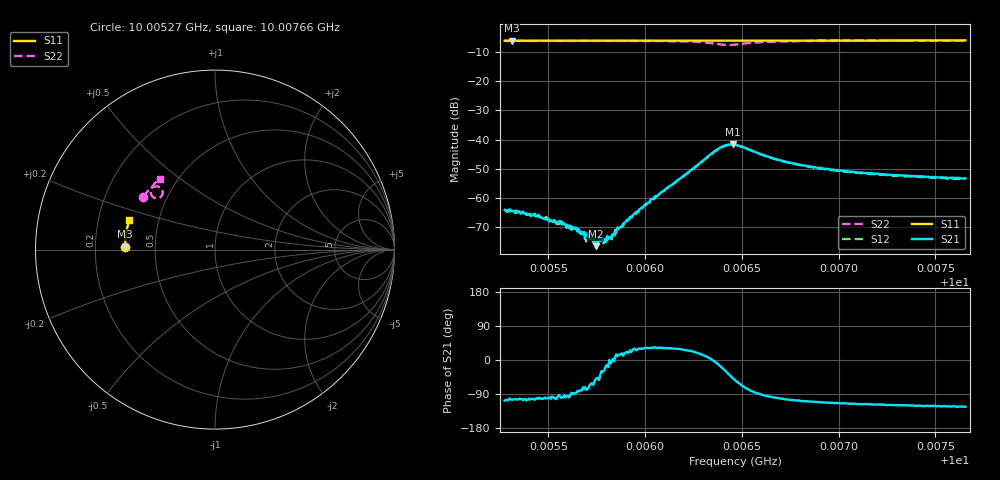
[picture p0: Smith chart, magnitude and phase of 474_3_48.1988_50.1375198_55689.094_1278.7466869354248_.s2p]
#  HZ  S  RI  R  50.00
! Rohde & Schwarz Vector Network Analyzer
! Rohde-Schwarz,ZNB20-2Port,1311601062101988,3.16
! Created: UTC 3/20/2024, 11:57:17 AM
! freq[Hz]  re:S11  im:S11  re:S21  im:S21  re:S12  im:S12  re:S22  im:S22
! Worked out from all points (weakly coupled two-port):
!   401 points, 10.00527 GHz to 10.00766 GHz, reference 50 ohm
!   highest |S21| = -41.69 dB at 10.00645 GHz (marker M1); lowest = -76.7 dB at 10.00574 GHz (marker M2)
!   lowest |S11| = -6.0 dB at 10.00531 GHz (marker M3), VSWR 3.01, Z = 16.6 + j0.755 ohm
!   |S11| at or under -10 dB: nowhere
!   |S22| runs from -7.5 to -6.0 dB; largest |S21 - S12| = 0.00056
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1.0005274e10  -0.5006 0.0148  -0.000182 -0.000588  -0.000112 -0.000596  -0.3995 0.2932
1.000531e10  -0.5005 0.017  -0.000152 -0.000566  -0.000125 -0.000566  -0.398 0.2954
1.000556e10  -0.5003 0.0334  -4.39e-05 -0.000398  -3.1e-05 -0.000364  -0.3874 0.3103
1.0005643e10  -0.5 0.0388  1.27e-05 -0.000304  2.97e-06 -0.000277  -0.3835 0.3153
1.0005673e10  -0.5 0.0407  4.06e-05 -0.000253  4.8e-05 -0.00024  -0.3819 0.317
1.0005685e10  -0.4998 0.0415  5.95e-05 -0.000251  4.12e-05 -0.000209  -0.3813 0.3179
1.0005714e10  -0.4998 0.0433  8.09e-05 -0.000175  7.54e-05 -0.000178  -0.3799 0.3197
1.0005744e10  -0.4997 0.0454  9.18e-05 -0.000114  0.000123 -0.000127  -0.3784 0.3215
1.0005762e10  -0.4997 0.0466  0.000128 -0.000167  0.000121 -0.000103  -0.3774 0.3226
1.0005816e10  -0.4995 0.05  0.000213 1.59e-06  0.000204 -4.04e-05  -0.3744 0.3261
1.0005834e10  -0.4994 0.0512  0.000237 1.32e-05  0.000253 1.86e-05  -0.3732 0.3274
1.0005857e10  -0.4991 0.0527  0.000301 5.46e-05  0.000283 6.58e-05  -0.3719 0.3288
1.0005947e10  -0.4987 0.0586  0.000463 0.000265  0.000436 0.000253  -0.3659 0.3347
1.0006072e10  -0.4979 0.0666  0.000955 0.000619  0.000934 0.00065  -0.3554 0.3433
1.0006369e10  -0.495 0.0858  0.00655 -0.000923  0.00648 -0.000533  -0.2936 0.3306
1.0006411e10  -0.4945 0.0881  0.00706 -0.00351  0.00702 -0.00312  -0.2932 0.3067
1.0006453e10  -0.4943 0.0906  0.00554 -0.00609  0.0058 -0.00565  -0.311 0.2882
1.0006465e10  -0.4942 0.0912  0.00485 -0.00653  0.00514 -0.00613  -0.3178 0.286
1.0006679e10  -0.4925 0.1049  -0.000789 -0.00452  -0.000577 -0.00445  -0.3579 0.3278
1.0006864e10  -0.4903 0.1167  -0.00118 -0.00318  -0.000974 -0.00318  -0.35 0.3494
1.0007262e10  -0.4844 0.1419  -0.00118 -0.00217  -0.00107 -0.00218  -0.3293 0.3764
1.0007655e10  -0.4776 0.1661  -0.00118 -0.0018  -0.00106 -0.0018  -0.309 0.3961
